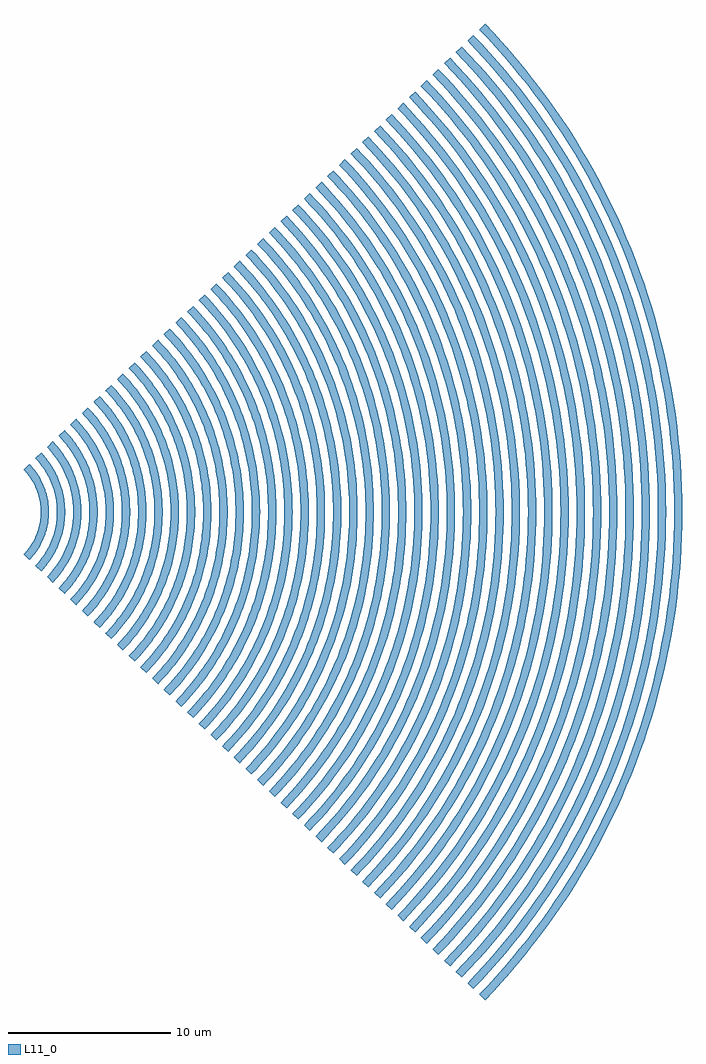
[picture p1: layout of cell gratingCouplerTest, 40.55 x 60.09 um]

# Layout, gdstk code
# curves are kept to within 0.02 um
import gdstk
lib = gdstk.Library(unit=1e-6, precision=1e-09)
def P(c, l, *ps):  # polygons
    for p in ps: c.add(gdstk.Polygon(p, *l))
L11_0 = (11, 0)

gratingcouplertest = lib.new_cell('gratingCouplerTest')
P(gratingcouplertest, L11_0, [(3.057,-2.952),(2.698,-2.605),(3.145,-2.042),(3.477,-1.405),(3.681,-0.716),(3.75,0),(3.681,0.716),(3.477,1.405),(3.145,2.042),(2.698,2.605),(3.057,2.952),(3.564,2.315),(3.941,1.592),(4.172,0.811),(4.25,0),(4.172,-0.811),(3.941,-1.592),(3.564,-2.315)],
  [(3.777,-3.647),(3.417,-3.3),(3.743,-2.924),(3.984,-2.587),(4.194,-2.23),(4.404,-1.779),(4.566,-1.309),(4.663,-0.906),(4.732,-0.414),(4.75,0),(4.732,0.414),(4.663,0.906),(4.566,1.309),(4.404,1.779),(4.194,2.23),(3.984,2.587),(3.743,2.924),(3.417,3.3),(3.777,3.647),(4.08,3.304),(4.403,2.859),(4.678,2.383),(4.868,1.967),(5.021,1.535),(5.154,1.002),(5.23,0.458),(5.25,0),(5.23,-0.458),(5.154,-1.002),(5.021,-1.535),(4.868,-1.967),(4.678,-2.383),(4.403,-2.859),(4.08,-3.304)],
  [(4.496,-4.342),(4.136,-3.994),(4.469,-3.619),(4.822,-3.132),(5.077,-2.699),(5.331,-2.154),(5.499,-1.681),(5.644,-1.097),(5.719,-0.601),(5.75,0),(5.719,0.601),(5.644,1.097),(5.499,1.681),(5.331,2.154),(5.077,2.699),(4.822,3.132),(4.469,3.619),(4.136,3.994),(4.496,4.342),(4.925,3.848),(5.242,3.404),(5.569,2.837),(5.795,2.341),(6.008,1.723),(6.135,1.193),(6.216,0.653),(6.25,0),(6.216,-0.653),(6.135,-1.193),(6.008,-1.723),(5.795,-2.341),(5.569,-2.837),(5.242,-3.404),(4.925,-3.848)],
  [(5.215,-5.036),(4.856,-4.689),(5.246,-4.248),(5.661,-3.676),(5.96,-3.169),(6.258,-2.529),(6.489,-1.861),(6.626,-1.288),(6.713,-0.706),(6.75,0),(6.713,0.706),(6.626,1.288),(6.489,1.861),(6.258,2.529),(5.96,3.169),(5.661,3.676),(5.246,4.248),(4.856,4.689),(5.215,5.036),(5.713,4.464),(6.08,3.949),(6.46,3.291),(6.722,2.716),(6.933,2.12),(7.117,1.383),(7.21,0.758),(7.25,0),(7.21,-0.758),(7.117,-1.383),(6.933,-2.12),(6.722,-2.716),(6.46,-3.291),(6.08,-3.949),(5.713,-4.464)],
  [(5.935,-5.731),(5.575,-5.384),(6.023,-4.877),(6.5,-4.221),(6.843,-3.638),(7.186,-2.903),(7.45,-2.136),(7.608,-1.479),(7.721,-0.675),(7.75,0),(7.721,0.675),(7.608,1.479),(7.45,2.136),(7.186,2.903),(6.843,3.638),(6.5,4.221),(6.023,4.877),(5.575,5.384),(5.935,5.731),(6.501,5.079),(6.919,4.493),(7.351,3.745),(7.649,3.091),(7.89,2.412),(8.098,1.574),(8.219,0.719),(8.25,0),(8.219,-0.719),(8.098,-1.574),(7.89,-2.412),(7.649,-3.091),(7.351,-3.745),(6.919,-4.493),(6.501,-5.079)],
  [(6.654,-6.426),(6.294,-6.078),(6.8,-5.507),(7.338,-4.766),(7.726,-4.108),(8.113,-3.278),(8.368,-2.558),(8.589,-1.67),(8.717,-0.763),(8.75,0),(8.717,0.763),(8.589,1.67),(8.368,2.558),(8.113,3.278),(7.726,4.108),(7.338,4.766),(6.8,5.507),(6.294,6.078),(6.654,6.426),(7.189,5.821),(7.758,5.038),(8.242,4.199),(8.576,3.465),(8.892,2.55),(9.08,1.765),(9.215,0.806),(9.25,0),(9.215,-0.806),(9.08,-1.765),(8.892,-2.55),(8.576,-3.465),(8.242,-4.199),(7.758,-5.038),(7.189,-5.821)],
  [(7.373,-7.12),(7.014,-6.773),(7.787,-5.868),(8.357,-5.022),(8.837,-4.121),(9.273,-3.013),(9.5,-2.193),(9.63,-1.525),(9.713,-0.85),(9.75,0),(9.713,0.85),(9.63,1.525),(9.5,2.193),(9.273,3.013),(8.837,4.121),(8.357,5.022),(7.787,5.868),(7.014,6.773),(7.373,7.12),(7.966,6.451),(8.596,5.583),(9.133,4.653),(9.504,3.84),(9.853,2.825),(10.062,1.956),(10.194,1.071),(10.25,0),(10.194,-1.071),(10.062,-1.956),(9.853,-2.825),(9.504,-3.84),(9.133,-4.653),(8.596,-5.583),(7.966,-6.451)],
  [(8.093,-7.815),(7.733,-7.468),(8.471,-6.618),(9.117,-5.697),(9.743,-4.543),(10.164,-3.5),(10.431,-2.601),(10.618,-1.682),(10.724,-0.75),(10.75,0),(10.724,0.75),(10.618,1.682),(10.431,2.601),(10.164,3.5),(9.743,4.543),(9.117,5.697),(8.471,6.618),(7.733,7.468),(8.093,7.815),(8.743,7.08),(9.435,6.127),(9.933,5.282),(10.431,4.214),(10.814,3.101),(11.043,2.147),(11.207,0.981),(11.25,0),(11.207,-0.981),(11.043,-2.147),(10.814,-3.101),(10.431,-4.214),(9.933,-5.282),(9.435,-6.127),(8.743,-7.08)],
  [(8.812,-8.51),(8.452,-8.162),(9.259,-7.234),(9.965,-6.227),(10.561,-5.151),(10.816,-4.591),(11.11,-3.825),(11.401,-2.843),(11.605,-1.838),(11.705,-1.024),(11.75,0),(11.705,1.024),(11.605,1.838),(11.401,2.843),(11.11,3.825),(10.816,4.591),(10.561,5.151),(9.965,6.227),(9.259,7.234),(8.452,8.162),(8.812,8.51),(9.653,7.542),(10.274,6.672),(10.915,5.561),(11.358,4.589),(11.715,3.582),(12.025,2.337),(12.183,1.28),(12.25,0),(12.183,-1.28),(12.025,-2.337),(11.715,-3.582),(11.358,-4.589),(10.915,-5.561),(10.274,-6.672),(9.653,-7.542)],
  [(9.531,-9.204),(9.172,-8.857),(9.623,-8.365),(10.183,-7.673),(10.929,-6.567),(11.555,-5.388),(12.055,-4.151),(12.371,-3.085),(12.593,-1.995),(12.719,-0.889),(12.75,0),(12.719,0.889),(12.593,1.995),(12.371,3.085),(12.055,4.151),(11.555,5.388),(10.929,6.567),(10.183,7.673),(9.623,8.365),(9.172,8.857),(9.531,9.204),(10.441,8.158),(11.112,7.216),(11.806,6.015),(12.285,4.964),(12.737,3.652),(13.007,2.528),(13.2,1.155),(13.25,0),(13.2,-1.155),(13.007,-2.528),(12.737,-3.652),(12.285,-4.964),(11.806,-6.015),(11.112,-7.216),(10.441,-8.158)],
  [(10.251,-9.899),(9.891,-9.552),(10.835,-8.465),(11.661,-7.286),(12.141,-6.455),(12.462,-5.811),(13.001,-4.477),(13.342,-3.326),(13.581,-2.151),(13.717,-0.959),(13.75,0),(13.717,0.959),(13.581,2.151),(13.342,3.326),(13.001,4.477),(12.462,5.811),(12.141,6.455),(11.661,7.286),(10.835,8.465),(9.891,9.552),(10.251,9.899),(11.074,8.968),(11.951,7.761),(12.582,6.69),(13.212,5.338),(13.698,3.928),(13.988,2.719),(14.196,1.242),(14.25,0),(14.196,-1.242),(13.988,-2.719),(13.698,-3.928),(13.212,-5.338),(12.582,-6.69),(11.951,-7.761),(11.074,-8.968)],
  [(10.97,-10.594),(10.61,-10.246),(11.132,-9.677),(11.623,-9.081),(12.509,-7.816),(12.901,-7.151),(13.257,-6.466),(13.86,-5.045),(14.247,-3.818),(14.526,-2.561),(14.694,-1.286),(14.75,0),(14.694,1.286),(14.526,2.561),(14.247,3.818),(13.86,5.045),(13.257,6.466),(12.901,7.151),(12.509,7.816),(11.623,9.081),(11.132,9.677),(10.61,10.246),(10.97,10.594),(11.509,10.005),(12.017,9.389),(12.79,8.306),(13.207,7.625),(13.588,6.923),(14.14,5.713),(14.584,4.459),(14.797,3.689),(14.97,2.91),(15.102,2.122),(15.192,1.329),(15.25,0),(15.192,-1.329),(15.102,-2.122),(14.97,-2.91),(14.797,-3.689),(14.584,-4.459),(14.14,-5.713),(13.588,-6.923),(13.207,-7.625),(12.79,-8.306),(12.017,-9.389),(11.509,-10.005)],
  [(11.689,-11.288),(11.33,-10.941),(11.887,-10.333),(12.411,-9.697),(12.902,-9.034),(13.357,-8.346),(13.775,-7.636),(14.156,-6.904),(14.498,-6.154),(14.8,-5.387),(15.213,-4.076),(15.511,-2.735),(15.69,-1.373),(15.75,0),(15.69,1.373),(15.511,2.735),(15.213,4.076),(14.8,5.387),(14.498,6.154),(14.156,6.904),(13.775,7.636),(13.357,8.346),(12.902,9.034),(12.411,9.697),(11.887,10.333),(11.33,10.941),(11.689,11.288),(12.629,10.226),(13.147,9.552),(13.628,8.85),(14.348,7.629),(14.728,6.868),(15.067,6.087),(15.365,5.29),(15.621,4.479),(15.951,3.101),(16.161,1.699),(16.228,0.85),(16.25,0),(16.228,-0.85),(16.161,-1.699),(15.951,-3.101),(15.621,-4.479),(15.365,-5.29),(15.067,-6.087),(14.728,-6.868),(14.348,-7.629),(13.628,-8.85),(13.147,-9.552),(12.629,-10.226)],
  [(12.409,-11.983),(12.049,-11.636),(12.641,-10.989),(13.199,-10.312),(13.721,-9.607),(14.205,-8.876),(14.65,-8.121),(15.055,-7.343),(15.418,-6.545),(15.74,-5.729),(16.179,-4.335),(16.496,-2.909),(16.686,-1.46),(16.75,0),(16.686,1.46),(16.496,2.909),(16.179,4.335),(15.74,5.729),(15.418,6.545),(15.055,7.343),(14.65,8.121),(14.205,8.876),(13.721,9.607),(13.199,10.312),(12.641,10.989),(12.049,11.636),(12.409,11.983),(13.406,10.856),(13.956,10.139),(14.467,9.395),(15.231,8.098),(15.634,7.29),(15.994,6.462),(16.31,5.616),(16.582,4.755),(16.933,3.291),(17.156,1.803),(17.226,0.903),(17.25,0),(17.226,-0.903),(17.156,-1.803),(16.933,-3.291),(16.582,-4.755),(16.31,-5.616),(15.994,-6.462),(15.634,-7.29),(15.231,-8.098),(14.467,-9.395),(13.956,-10.139),(13.406,-10.856)],
  [(13.128,-12.678),(12.768,-12.33),(13.396,-11.645),(13.987,-10.928),(14.54,-10.181),(15.053,-9.406),(15.524,-8.605),(15.954,-7.781),(16.339,-6.935),(16.68,-6.071),(17.145,-4.594),(17.48,-3.082),(17.682,-1.547),(17.75,0),(17.682,1.547),(17.48,3.082),(17.145,4.594),(16.68,6.071),(16.339,6.935),(15.954,7.781),(15.524,8.605),(15.053,9.406),(14.54,10.181),(13.987,10.928),(13.396,11.645),(12.768,12.33),(13.128,12.678),(14.183,11.485),(14.765,10.727),(15.306,9.94),(16.114,8.568),(16.54,7.713),(16.921,6.837),(17.453,5.336),(17.708,4.415),(17.915,3.482),(18.072,2.54),(18.181,1.591),(18.25,0),(18.181,-1.591),(18.072,-2.54),(17.915,-3.482),(17.708,-4.415),(17.453,-5.336),(16.921,-6.837),(16.54,-7.713),(16.114,-8.568),(15.306,-9.94),(14.765,-10.727),(14.183,-11.485)],
  [(13.847,-13.372),(13.488,-13.025),(14.151,-12.301),(14.775,-11.544),(15.359,-10.755),(15.901,-9.936),(16.399,-9.09),(16.852,-8.219),(17.259,-7.326),(17.619,-6.413),(18.111,-4.853),(18.465,-3.256),(18.679,-1.634),(18.75,0),(18.679,1.634),(18.465,3.256),(18.111,4.853),(17.619,6.413),(17.259,7.326),(16.852,8.219),(16.399,9.09),(15.901,9.936),(15.359,10.755),(14.775,11.544),(14.151,12.301),(13.488,13.025),(13.847,13.372),(14.96,12.114),(15.574,11.315),(16.144,10.484),(16.997,9.037),(17.446,8.135),(17.848,7.211),(18.409,5.628),(18.678,4.657),(18.896,3.673),(19.145,2.012),(19.224,1.007),(19.25,0),(19.224,-1.007),(19.145,-2.012),(18.896,-3.673),(18.678,-4.657),(18.409,-5.628),(17.848,-7.211),(17.446,-8.135),(16.997,-9.037),(16.144,-10.484),(15.574,-11.315),(14.96,-12.114)],
  [(14.567,-14.067),(14.207,-13.72),(14.906,-12.957),(15.563,-12.159),(16.178,-11.328),(16.749,-10.466),(17.274,-9.575),(17.751,-8.658),(18.18,-7.717),(18.559,-6.755),(19.077,-5.112),(19.45,-3.43),(19.675,-1.721),(19.75,0),(19.675,1.721),(19.45,3.43),(19.077,5.112),(18.559,6.755),(18.18,7.717),(17.751,8.658),(17.274,9.575),(16.749,10.466),(16.178,11.328),(15.563,12.159),(14.906,12.957),(14.207,13.72),(14.567,14.067),(15.737,12.744),(16.383,11.903),(16.983,11.029),(17.88,9.507),(18.353,8.558),(18.775,7.586),(19.147,6.593),(19.466,5.582),(19.878,3.864),(20.053,2.818),(20.173,1.765),(20.25,0),(20.173,-1.765),(20.053,-2.818),(19.878,-3.864),(19.466,-5.582),(19.147,-6.593),(18.775,-7.586),(18.353,-8.558),(17.88,-9.507),(16.983,-11.029),(16.383,-11.903),(15.737,-12.744)],
  [(15.286,-14.761),(14.926,-14.414),(15.66,-13.613),(16.351,-12.775),(16.997,-11.902),(17.597,-10.996),(18.148,-10.06),(18.65,-9.096),(19.1,-8.108),(19.499,-7.097),(20.043,-5.37),(20.435,-3.603),(20.671,-1.808),(20.75,0),(20.671,1.808),(20.435,3.603),(20.043,5.37),(19.499,7.097),(19.1,8.108),(18.65,9.096),(18.148,10.06),(17.597,10.996),(16.997,11.902),(16.351,12.775),(15.66,13.613),(14.926,14.414),(15.286,14.761),(16.038,13.941),(16.745,13.083),(17.822,11.574),(18.763,9.976),(19.259,8.981),(19.703,7.96),(20.092,6.918),(20.427,5.857),(20.86,4.055),(21.134,2.221),(21.221,1.112),(21.25,0),(21.221,-1.112),(21.134,-2.221),(20.86,-4.055),(20.427,-5.857),(20.092,-6.918),(19.703,-7.96),(19.259,-8.981),(18.763,-9.976),(17.822,-11.574),(16.745,-13.083),(16.038,-13.941)],
  [(16.005,-15.456),(15.646,-15.109),(16.415,-14.269),(17.139,-13.391),(17.817,-12.475),(18.445,-11.526),(19.023,-10.545),(19.549,-9.535),(20.021,-8.498),(20.438,-7.439),(20.8,-6.359),(21.009,-5.629),(21.193,-4.893),(21.42,-3.777),(21.667,-1.896),(21.737,-0.759),(21.75,0),(21.737,0.759),(21.667,1.896),(21.42,3.777),(21.193,4.893),(21.009,5.629),(20.8,6.359),(20.438,7.439),(20.021,8.498),(19.549,9.535),(19.023,10.545),(18.445,11.526),(17.817,12.475),(17.139,13.391),(16.415,14.269),(15.646,15.109),(16.005,15.456),(16.792,14.597),(17.533,13.698),(18.001,13.078),(18.66,12.118),(19.072,11.46),(19.646,10.446),(20.165,9.403),(20.63,8.335),(21.038,7.244),(21.278,6.505),(21.589,5.383),(21.841,4.246),(21.976,3.481),(22.128,2.326),(22.22,1.164),(22.25,0),(22.22,-1.164),(22.128,-2.326),(21.976,-3.481),(21.841,-4.246),(21.589,-5.383),(21.278,-6.505),(21.038,-7.244),(20.63,-8.335),(20.165,-9.403),(19.646,-10.446),(19.072,-11.46),(18.66,-12.118),(18.001,-13.078),(17.533,-13.698),(16.792,-14.597)],
  [(16.725,-16.151),(16.365,-15.803),(17.17,-14.925),(17.927,-14.006),(18.636,-13.049),(19.293,-12.056),(19.898,-11.029),(20.448,-9.973),(20.941,-8.889),(21.378,-7.781),(21.637,-7.03),(21.975,-5.888),(22.253,-4.73),(22.404,-3.95),(22.529,-3.166),(22.663,-1.983),(22.719,-1.191),(22.75,0),(22.719,1.191),(22.663,1.983),(22.529,3.166),(22.404,3.95),(22.253,4.73),(21.975,5.888),(21.637,7.03),(21.378,7.781),(20.941,8.889),(20.448,9.973),(19.898,11.029),(19.293,12.056),(18.636,13.049),(17.927,14.006),(17.17,14.925),(16.365,15.803),(16.725,16.151),(17.547,15.253),(18.069,14.632),(18.81,13.666),(19.499,12.663),(19.929,11.975),(20.529,10.915),(21.072,9.826),(21.557,8.71),(21.848,7.952),(22.234,6.798),(22.559,5.625),(22.823,4.436),(23.024,3.236),(23.162,2.026),(23.236,0.811),(23.25,0),(23.236,-0.811),(23.162,-2.026),(23.024,-3.236),(22.823,-4.436),(22.559,-5.625),(22.234,-6.798),(21.848,-7.952),(21.557,-8.71),(21.072,-9.826),(20.529,-10.915),(19.929,-11.975),(19.499,-12.663),(18.81,-13.666),(18.069,-14.632),(17.547,-15.253)],
  [(17.444,-16.845),(17.084,-16.498),(17.924,-15.581),(18.715,-14.622),(19.455,-13.622),(20.141,-12.586),(20.772,-11.514),(21.346,-10.411),(21.697,-9.66),(22.173,-8.511),(22.588,-7.339),(22.83,-6.546),(23.045,-5.746),(23.314,-4.532),(23.519,-3.305),(23.66,-2.07),(23.736,-0.829),(23.75,0),(23.736,0.829),(23.66,2.07),(23.519,3.305),(23.314,4.532),(23.045,5.746),(22.83,6.546),(22.588,7.339),(22.173,8.511),(21.697,9.66),(21.346,10.411),(20.772,11.514),(20.141,12.586),(19.455,13.622),(18.715,14.622),(17.924,15.581),(17.084,16.498),(17.444,16.845),(18.302,15.909),(18.846,15.261),(19.619,14.254),(20.338,13.207),(21.001,12.125),(21.607,11.009),(21.978,10.248),(22.484,9.084),(22.929,7.895),(23.311,6.684),(23.53,5.867),(23.804,4.627),(24.014,3.375),(24.158,2.114),(24.217,1.269),(24.25,0),(24.217,-1.269),(24.158,-2.114),(24.014,-3.375),(23.804,-4.627),(23.53,-5.867),(23.311,-6.684),(22.929,-7.895),(22.484,-9.084),(21.978,-10.248),(21.607,-11.009),(21.001,-12.125),(20.338,-13.207),(19.619,-14.254),(18.846,-15.261),(18.302,-15.909)],
  [(18.163,-17.54),(17.804,-17.193),(18.679,-16.237),(19.503,-15.238),(20.274,-14.196),(20.989,-13.116),(21.647,-11.999),(22.245,-10.85),(22.61,-10.067),(23.106,-8.87),(23.539,-7.648),(23.907,-6.406),(24.116,-5.568),(24.374,-4.298),(24.566,-3.016),(24.656,-2.157),(24.735,-0.864),(24.75,0),(24.735,0.864),(24.656,2.157),(24.566,3.016),(24.374,4.298),(24.116,5.568),(23.907,6.406),(23.539,7.648),(23.106,8.87),(22.61,10.067),(22.245,10.85),(21.647,11.999),(20.989,13.116),(20.274,14.196),(19.503,15.238),(18.679,16.237),(17.804,17.193),(18.163,17.54),(18.764,16.896),(19.623,15.89),(20.428,14.842),(21.176,13.752),(21.867,12.625),(22.498,11.463),(23.067,10.27),(23.411,9.459),(23.727,8.636),(24.147,7.382),(24.5,6.109),(24.786,4.818),(24.939,3.95),(25.112,2.639),(25.215,1.321),(25.25,0),(25.215,-1.321),(25.112,-2.639),(24.939,-3.95),(24.786,-4.818),(24.5,-6.109),(24.147,-7.382),(23.727,-8.636),(23.411,-9.459),(23.067,-10.27),(22.498,-11.463),(21.867,-12.625),(21.176,-13.752),(20.428,-14.842),(19.623,-15.89),(18.764,-16.896)],
  [(18.883,-18.235),(18.523,-17.887),(19.434,-16.894),(20.012,-16.205),(20.832,-15.135),(21.596,-14.024),(22.3,-12.875),(22.943,-11.69),(23.524,-10.473),(24.04,-9.228),(24.49,-7.957),(24.873,-6.665),(25.09,-5.792),(25.359,-4.471),(25.558,-3.138),(25.652,-2.244),(25.715,-1.348),(25.75,0),(25.715,1.348),(25.652,2.244),(25.558,3.138),(25.359,4.471),(25.09,5.792),(24.873,6.665),(24.49,7.957),(24.04,9.228),(23.524,10.473),(22.943,11.69),(22.3,12.875),(21.596,14.024),(20.832,15.135),(20.012,16.205),(19.434,16.894),(18.523,17.887),(18.883,18.235),(19.508,17.565),(20.4,16.52),(21.237,15.429),(22.015,14.297),(22.733,13.125),(23.389,11.917),(23.791,11.094),(24.339,9.833),(24.82,8.546),(25.103,7.675),(25.47,6.35),(25.768,5.009),(25.995,3.653),(26.15,2.288),(26.214,1.374),(26.25,0),(26.214,-1.374),(26.15,-2.288),(25.995,-3.653),(25.768,-5.009),(25.47,-6.35),(25.103,-7.675),(24.82,-8.546),(24.339,-9.833),(23.791,-11.094),(23.389,-11.917),(22.733,-13.125),(22.015,-14.297),(21.237,-15.429),(20.4,-16.52),(19.508,-17.565)],
  [(19.602,-18.929),(19.242,-18.582),(20.188,-17.55),(20.789,-16.834),(21.641,-15.723),(22.434,-14.569),(23.166,-13.375),(23.834,-12.144),(24.437,-10.88),(24.973,-9.586),(25.293,-8.709),(25.714,-7.373),(25.955,-6.471),(26.259,-5.104),(26.49,-3.723),(26.648,-2.331),(26.734,-0.934),(26.75,0),(26.734,0.934),(26.648,2.331),(26.49,3.723),(26.259,5.104),(25.955,6.471),(25.714,7.373),(25.293,8.709),(24.973,9.586),(24.437,10.88),(23.834,12.144),(23.166,13.375),(22.434,14.569),(21.641,15.723),(20.789,16.834),(20.188,17.55),(19.242,18.582),(19.602,18.929),(20.566,17.878),(21.473,16.777),(22.046,16.017),(22.854,14.841),(23.599,13.625),(24.28,12.371),(24.894,11.084),(25.266,10.208),(25.607,9.32),(26.059,7.967),(26.441,6.592),(26.749,5.2),(26.915,4.263),(27.101,2.848),(27.213,1.426),(27.25,0),(27.213,-1.426),(27.101,-2.848),(26.915,-4.263),(26.749,-5.2),(26.441,-6.592),(26.059,-7.967),(25.607,-9.32),(25.266,-10.208),(24.894,-11.084),(24.28,-12.371),(23.599,-13.625),(22.854,-14.841),(22.046,-16.017),(21.473,-16.777),(20.566,-17.878)],
  [(20.321,-19.624),(19.962,-19.277),(20.943,-18.206),(21.566,-17.464),(22.45,-16.311),(23.273,-15.114),(24.032,-13.875),(24.725,-12.598),(25.351,-11.287),(25.907,-9.945),(26.392,-8.575),(26.675,-7.649),(26.926,-6.713),(27.24,-5.295),(27.48,-3.862),(27.598,-2.901),(27.712,-1.452),(27.75,0),(27.712,1.452),(27.598,2.901),(27.48,3.862),(27.24,5.295),(26.926,6.713),(26.675,7.649),(26.392,8.575),(25.907,9.945),(25.351,11.287),(24.725,12.598),(24.032,13.875),(23.273,15.114),(22.45,16.311),(21.566,17.464),(20.943,18.206),(19.962,19.277),(20.321,19.624),(21.321,18.534),(21.954,17.778),(22.855,16.605),(23.692,15.386),(24.215,14.55),(24.943,13.263),(25.603,11.939),(26.193,10.583),(26.711,9.197),(27.016,8.26),(27.411,6.834),(27.731,5.39),(27.975,3.932),(28.095,2.953),(28.211,1.478),(28.25,0),(28.211,-1.478),(28.095,-2.953),(27.975,-3.932),(27.731,-5.39),(27.411,-6.834),(27.016,-8.26),(26.711,-9.197),(26.193,-10.583),(25.603,-11.939),(24.943,-13.263),(24.215,-14.55),(23.692,-15.386),(22.855,-16.605),(21.954,-17.778),(21.321,-18.534)],
  [(21.041,-20.319),(20.681,-19.971),(21.698,-18.862),(22.343,-18.093),(23.259,-16.899),(24.112,-15.658),(24.898,-14.375),(25.616,-13.052),(26.264,-11.694),(26.84,-10.303),(27.184,-9.36),(27.636,-7.925),(27.896,-6.955),(28.222,-5.486),(28.396,-4.497),(28.593,-3.005),(28.711,-1.505),(28.75,0),(28.711,1.505),(28.593,3.005),(28.396,4.497),(28.222,5.486),(27.896,6.955),(27.636,7.925),(27.184,9.36),(26.84,10.303),(26.264,11.694),(25.616,13.052),(24.898,14.375),(24.112,15.658),(23.259,16.899),(22.343,18.093),(21.698,18.862),(20.681,19.971),(21.041,20.319),(21.737,19.572),(22.732,18.408),(23.664,17.193),(24.531,15.931),(25.331,14.625),(26.062,13.279),(26.51,12.362),(27.12,10.957),(27.486,10.004),(27.972,8.552),(28.381,7.076),(28.713,5.581),(28.965,4.071),(29.139,2.549),(29.21,1.531),(29.25,0),(29.21,-1.531),(29.139,-2.549),(28.965,-4.071),(28.713,-5.581),(28.381,-7.076),(27.972,-8.552),(27.486,-10.004),(27.12,-10.957),(26.51,-12.362),(26.062,-13.279),(25.331,-14.625),(24.531,-15.931),(23.664,-17.193),(22.732,-18.408),(21.737,-19.572)],
  [(21.76,-21.013),(21.4,-20.666),(22.453,-19.518),(23.443,-18.316),(24.37,-17.064),(24.95,-16.203),(25.764,-14.875),(26.507,-13.506),(27.178,-12.1),(27.774,-10.661),(28.129,-9.686),(28.598,-8.2),(28.988,-6.692),(29.298,-5.166),(29.528,-3.626),(29.637,-2.593),(29.732,-1.038),(29.75,0),(29.732,1.038),(29.637,2.593),(29.528,3.626),(29.298,5.166),(28.988,6.692),(28.598,8.2),(28.129,9.686),(27.774,10.661),(27.178,12.1),(26.507,13.506),(25.764,14.875),(24.95,16.203),(24.37,17.064),(23.443,18.316),(22.453,19.518),(21.4,20.666),(21.76,21.013),(22.83,19.846),(23.509,19.037),(24.473,17.781),(25.37,16.475),(25.929,15.58),(26.709,14.202),(27.416,12.784),(28.047,11.332),(28.602,9.848),(29.078,8.338),(29.475,6.805),(29.694,5.772),(29.956,4.21),(30.135,2.636),(30.232,1.056),(30.25,0),(30.232,-1.056),(30.135,-2.636),(29.956,-4.21),(29.694,-5.772),(29.475,-6.805),(29.078,-8.338),(28.602,-9.848),(28.047,-11.332),(27.416,-12.784),(26.709,-14.202),(25.929,-15.58),(25.37,-16.475),(24.473,-17.781),(23.509,-19.037),(22.83,-19.846)],
  [(22.479,-21.708),(22.12,-21.361),(22.852,-20.576),(23.897,-19.352),(24.877,-18.074),(25.789,-16.748),(26.63,-15.375),(27.398,-13.96),(28.092,-12.507),(28.708,-11.02),(29.075,-10.011),(29.559,-8.476),(29.962,-6.917),(30.283,-5.34),(30.451,-4.28),(30.633,-2.68),(30.708,-1.609),(30.75,0),(30.708,1.609),(30.633,2.68),(30.451,4.28),(30.283,5.34),(29.962,6.917),(29.559,8.476),(29.075,10.011),(28.708,11.02),(28.092,12.507),(27.398,13.96),(26.63,15.375),(25.789,16.748),(24.877,18.074),(23.897,19.352),(22.852,20.576),(22.12,21.361),(22.479,21.708),(23.585,20.502),(24.286,19.666),(25.282,18.368),(26.208,17.02),(27.063,15.625),(27.844,14.187),(28.548,12.711),(28.974,11.706),(29.365,10.688),(29.885,9.137),(30.322,7.56),(30.676,5.963),(30.946,4.349),(31.079,3.267),(31.207,1.635),(31.25,0),(31.207,-1.635),(31.079,-3.267),(30.946,-4.349),(30.676,-5.963),(30.322,-7.56),(29.885,-9.137),(29.365,-10.688),(28.974,-11.706),(28.548,-12.711),(27.844,-14.187),(27.063,-15.625),(26.208,-17.02),(25.282,-18.368),(24.286,-19.666),(23.585,-20.502)],
  [(23.199,-22.403),(22.839,-22.055),(23.962,-20.83),(25.019,-19.547),(26.008,-18.211),(26.926,-16.825),(27.769,-15.393),(28.537,-13.918),(29.226,-12.406),(29.641,-11.378),(30.02,-10.337),(30.52,-8.751),(30.807,-7.681),(31.167,-6.058),(31.441,-4.419),(31.576,-3.319),(31.706,-1.662),(31.75,0),(31.706,1.662),(31.576,3.319),(31.441,4.419),(31.167,6.058),(30.807,7.681),(30.52,8.751),(30.02,10.337),(29.641,11.378),(29.226,12.406),(28.537,13.918),(27.769,15.393),(26.926,16.825),(26.008,18.211),(25.019,19.547),(23.962,20.83),(22.839,22.055),(23.199,22.403),(24.339,21.158),(25.063,20.296),(26.091,18.956),(27.047,17.565),(27.929,16.125),(28.735,14.641),(29.462,13.117),(29.902,12.081),(30.493,10.5),(31.001,8.889),(31.292,7.802),(31.657,6.154),(31.936,4.488),(32.127,2.811),(32.206,1.688),(32.25,0),(32.206,-1.688),(32.127,-2.811),(31.936,-4.488),(31.657,-6.154),(31.292,-7.802),(31.001,-8.889),(30.493,-10.5),(29.902,-12.081),(29.462,-13.117),(28.735,-14.641),(27.929,-16.125),(27.047,-17.565),(26.091,-18.956),(25.063,-20.296),(24.339,-21.158)],
  [(23.918,-23.097),(23.558,-22.75),(24.717,-21.486),(25.807,-20.163),(26.827,-18.785),(27.774,-17.355),(28.644,-15.878),(29.436,-14.357),(29.919,-13.321),(30.575,-11.737),(30.966,-10.662),(31.481,-9.027),(31.911,-7.367),(32.148,-6.249),(32.347,-5.123),(32.571,-3.423),(32.705,-1.714),(32.75,0),(32.705,1.714),(32.571,3.423),(32.347,5.123),(32.148,6.249),(31.911,7.367),(31.481,9.027),(30.966,10.662),(30.575,11.737),(29.919,13.321),(29.436,14.357),(28.644,15.878),(27.774,17.355),(26.827,18.785),(25.807,20.163),(24.717,21.486),(23.558,22.75),(23.918,23.097),(24.71,22.249),(25.84,20.925),(26.9,19.544),(27.886,18.109),(28.501,17.125),(29.358,15.61),(30.135,14.052),(30.829,12.456),(31.438,10.825),(31.962,9.165),(32.398,7.48),(32.639,6.344),(32.841,5.201),(33.068,3.476),(33.204,1.74),(33.25,0),(33.204,-1.74),(33.068,-3.476),(32.841,-5.201),(32.639,-6.344),(32.398,-7.48),(31.962,-9.165),(31.438,-10.825),(30.829,-12.456),(30.135,-14.052),(29.358,-15.61),(28.501,-17.125),(27.886,-18.109),(26.9,-19.544),(25.84,-20.925),(24.71,-22.249)],
  [(24.637,-23.792),(24.278,-23.445),(25.471,-22.142),(26.595,-20.779),(27.646,-19.358),(28.622,-17.885),(29.518,-16.362),(30.334,-14.795),(31.067,-13.187),(31.508,-12.095),(31.911,-10.988),(32.443,-9.303),(32.885,-7.592),(33.13,-6.44),(33.422,-4.697),(33.622,-2.942),(33.704,-1.766),(33.75,0),(33.704,1.766),(33.622,2.942),(33.422,4.697),(33.13,6.44),(32.885,7.592),(32.443,9.303),(31.911,10.988),(31.508,12.095),(31.067,13.187),(30.334,14.795),(29.518,16.362),(28.622,17.885),(27.646,19.358),(26.595,20.779),(25.471,22.142),(24.278,23.445),(24.637,23.792),(25.453,22.918),(26.617,21.554),(27.709,20.132),(28.724,18.654),(29.661,17.125),(30.517,15.549),(31.289,13.931),(31.756,12.83),(32.384,11.151),(32.923,9.441),(33.233,8.286),(33.621,6.535),(33.917,4.767),(34.12,2.985),(34.203,1.793),(34.25,0),(34.203,-1.793),(34.12,-2.985),(33.917,-4.767),(33.621,-6.535),(33.233,-8.286),(32.923,-9.441),(32.384,-11.151),(31.756,-12.83),(31.289,-13.931),(30.517,-15.549),(29.661,-17.125),(28.724,-18.654),(27.709,-20.132),(26.617,-21.554),(25.453,-22.918)],
  [(25.357,-24.487),(24.997,-24.139),(26.226,-22.798),(27.383,-21.394),(28.466,-19.932),(29.47,-18.415),(30.393,-16.847),(31.233,-15.233),(31.988,-13.578),(32.442,-12.453),(32.857,-11.313),(33.404,-9.578),(33.718,-8.407),(34.112,-6.631),(34.412,-4.836),(34.56,-3.632),(34.702,-1.819),(34.75,0),(34.702,1.819),(34.56,3.632),(34.412,4.836),(34.112,6.631),(33.718,8.407),(33.404,9.578),(32.857,11.313),(32.442,12.453),(31.988,13.578),(31.233,15.233),(30.393,16.847),(29.47,18.415),(28.466,19.932),(27.383,21.394),(26.226,22.798),(24.997,24.139),(25.357,24.487),(26.604,23.126),(27.394,22.184),(28.518,20.719),(29.563,19.199),(30.215,18.155),(31.124,16.549),(31.947,14.897),(32.683,13.205),(33.33,11.476),(33.71,10.306),(34.203,8.528),(34.602,6.726),(34.907,4.906),(35.057,3.685),(35.202,1.845),(35.25,0),(35.202,-1.845),(35.057,-3.685),(34.907,-4.906),(34.602,-6.726),(34.203,-8.528),(33.71,-10.306),(33.33,-11.476),(32.683,-13.205),(31.947,-14.897),(31.124,-16.549),(30.215,-18.155),(29.563,-19.199),(28.518,-20.719),(27.394,-22.184),(26.604,-23.126)],
  [(26.076,-25.181),(25.716,-24.834),(26.567,-23.921),(27.386,-22.98),(28.551,-21.515),(29.638,-19.991),(30.644,-18.413),(31.268,-17.332),(32.132,-15.672),(32.908,-13.969),(33.375,-12.812),(34,-11.047),(34.532,-9.253),(34.834,-8.042),(35.207,-6.208),(35.484,-4.357),(35.614,-3.116),(35.701,-1.871),(35.75,0),(35.701,1.871),(35.614,3.116),(35.484,4.357),(35.207,6.208),(34.969,7.433),(34.532,9.253),(34,11.047),(33.375,12.812),(32.908,13.969),(32.132,15.672),(31.268,17.332),(30.644,18.413),(29.638,19.991),(28.551,21.515),(27.386,22.98),(26.567,23.921),(25.716,24.834),(26.076,25.181),(26.939,24.256),(28.172,22.813),(29.327,21.307),(30.402,19.743),(31.393,18.125),(32.299,16.457),(32.854,15.32),(33.61,13.579),(34.275,11.802),(34.846,9.992),(35.321,8.154),(35.584,6.917),(35.897,5.045),(36.112,3.159),(36.228,1.265),(36.25,0),(36.228,-1.265),(36.112,-3.159),(35.897,-5.045),(35.584,-6.917),(35.321,-8.154),(34.846,-9.992),(34.275,-11.802),(33.61,-13.579),(32.854,-15.32),(32.299,-16.457),(31.393,-18.125),(30.402,-19.743),(29.327,-21.307),(28.172,-22.813),(26.939,-24.256)],
  [(26.795,-25.876),(26.436,-25.529),(27.736,-24.11),(28.56,-23.128),(29.35,-22.117),(30.467,-20.55),(31.501,-18.928),(32.142,-17.817),(33.031,-16.11),(33.573,-14.948),(34.309,-13.17),(34.951,-11.356),(35.498,-9.512),(35.947,-7.641),(36.192,-6.382),(36.476,-4.479),(36.61,-3.203),(36.728,-1.283),(36.75,0),(36.728,1.283),(36.61,3.203),(36.476,4.479),(36.192,6.382),(35.947,7.641),(35.498,9.512),(34.951,11.356),(34.309,13.17),(33.573,14.948),(33.031,16.11),(32.142,17.817),(31.501,18.928),(30.467,20.55),(29.35,22.117),(28.56,23.128),(27.736,24.11),(26.436,25.529),(26.795,25.876),(28.113,24.438),(28.949,23.442),(30.136,21.895),(31.24,20.288),(31.929,19.185),(32.89,17.488),(33.76,15.743),(34.538,13.954),(35.221,12.127),(35.807,10.267),(36.144,9.012),(36.566,7.108),(36.791,5.827),(37.046,3.894),(37.199,1.95),(37.25,0),(37.199,-1.95),(37.046,-3.894),(36.791,-5.827),(36.566,-7.108),(36.144,-9.012),(35.807,-10.267),(35.221,-12.127),(34.538,-13.954),(33.76,-15.743),(32.89,-17.488),(32.259,-18.625),(31.24,-20.288),(30.136,-21.895),(28.949,-23.442),(28.113,-24.438)],
  [(27.515,-26.571),(27.155,-26.223),(28.054,-25.26),(28.918,-24.265),(30.148,-22.719),(31.296,-21.11),(32.358,-19.443),(33.017,-18.302),(33.929,-16.549),(34.749,-14.75),(35.243,-13.528),(35.693,-12.29),(36.288,-10.405),(36.629,-9.133),(37.056,-7.203),(37.383,-5.254),(37.543,-3.946),(37.698,-1.976),(37.75,0),(37.698,1.976),(37.543,3.946),(37.383,5.254),(37.056,7.203),(36.629,9.133),(36.288,10.405),(35.693,12.29),(35.243,13.528),(34.749,14.75),(33.929,16.549),(33.017,18.302),(32.358,19.443),(31.296,21.11),(30.148,22.719),(28.918,24.265),(28.054,25.26),(27.155,26.223),(27.515,26.571),(28.868,25.094),(29.726,24.072),(30.945,22.483),(32.079,20.832),(32.787,19.7),(33.773,17.957),(34.666,16.165),(35.465,14.329),(36.166,12.453),(36.579,11.183),(37.114,9.254),(37.547,7.298),(37.878,5.323),(38.104,3.334),(38.198,2.002),(38.25,0),(38.198,-2.002),(38.104,-3.334),(37.878,-5.323),(37.547,-7.298),(37.114,-9.254),(36.579,-11.183),(36.166,-12.453),(35.465,-14.329),(34.666,-16.165),(33.773,-17.957),(32.787,-19.7),(32.079,-20.832),(30.945,-22.483),(29.726,-24.072),(28.868,-25.094)],
  [(28.234,-27.265),(27.874,-26.918),(29.245,-25.422),(30.535,-23.857),(31.349,-22.777),(32.125,-21.669),(33.215,-19.958),(33.892,-18.786),(34.828,-16.987),(35.67,-15.141),(36.176,-13.887),(36.639,-12.616),(37.249,-10.681),(37.757,-8.717),(38.038,-7.394),(38.373,-5.393),(38.603,-3.377),(38.697,-2.028),(38.75,0),(38.697,2.028),(38.603,3.377),(38.373,5.393),(38.038,7.394),(37.757,8.717),(37.249,10.681),(36.639,12.616),(36.176,13.887),(35.67,15.141),(34.828,16.987),(33.892,18.786),(33.215,19.958),(32.125,21.669),(31.349,22.777),(30.535,23.857),(29.245,25.422),(27.874,26.918),(28.234,27.265),(29.622,25.75),(30.503,24.701),(31.754,23.071),(32.918,21.377),(33.644,20.215),(34.656,18.427),(35.573,16.588),(36.392,14.703),(37.112,12.779),(37.73,10.819),(38.244,8.829),(38.529,7.489),(38.868,5.463),(39.101,3.421),(39.226,1.37),(39.25,0),(39.226,-1.37),(39.101,-3.421),(38.868,-5.463),(38.529,-7.489),(38.244,-8.829),(37.73,-10.819),(37.112,-12.779),(36.392,-14.703),(35.573,-16.588),(34.656,-18.427),(33.644,-20.215),(32.918,-21.377),(31.754,-23.071),(30.503,-24.701),(29.622,-25.75)],
  [(28.953,-27.96),(28.594,-27.613),(30,-26.078),(30.892,-25.015),(31.746,-23.922),(32.954,-22.228),(34.072,-20.473),(34.766,-19.271),(35.727,-17.425),(36.59,-15.532),(37.11,-14.245),(37.584,-12.941),(38.21,-10.957),(38.731,-8.942),(39.02,-7.585),(39.363,-5.532),(39.599,-3.464),(39.696,-2.08),(39.75,0),(39.696,2.08),(39.599,3.464),(39.363,5.532),(39.02,7.585),(38.731,8.942),(38.21,10.957),(37.584,12.941),(37.11,14.245),(36.59,15.532),(35.727,17.425),(34.766,19.271),(34.072,20.473),(32.954,22.228),(31.746,23.922),(30.892,25.015),(30,26.078),(28.594,27.613),(28.953,27.96),(29.912,26.933),(31.28,25.33),(32.563,23.658),(33.756,21.922),(34.858,20.125),(35.539,18.896),(36.479,17.01),(37.319,15.078),(38.057,13.104),(38.691,11.094),(39.218,9.054),(39.51,7.68),(39.858,5.602),(40.03,4.207),(40.195,2.107),(40.25,0),(40.195,-2.107),(40.03,-4.207),(39.858,-5.602),(39.51,-7.68),(39.218,-9.054),(38.691,-11.094),(38.057,-13.104),(37.319,-15.078),(36.479,-17.01),(35.539,-18.896),(34.858,-20.125),(33.756,-21.922),(32.563,-23.658),(31.28,-25.33),(29.912,-26.933)],
  [(29.673,-28.655),(29.313,-28.307),(30.283,-27.267),(31.216,-26.194),(32.544,-24.524),(33.783,-22.787),(34.93,-20.988),(35.641,-19.756),(36.626,-17.864),(37.511,-15.922),(38.043,-14.603),(38.756,-12.592),(39.171,-11.232),(39.706,-9.167),(40.131,-7.076),(40.446,-4.966),(40.595,-3.552),(40.694,-2.133),(40.75,0),(40.694,2.133),(40.595,3.552),(40.446,4.966),(40.131,7.076),(39.706,9.167),(39.171,11.232),(38.756,12.592),(38.043,14.603),(37.511,15.922),(36.626,17.864),(35.641,19.756),(34.93,20.988),(33.783,22.787),(32.544,24.524),(31.216,26.194),(30.283,27.267),(29.313,28.307),(29.673,28.655),(31.132,27.062),(32.505,25.396),(33.372,24.246),(34.595,22.466),(35.724,20.625),(36.422,19.366),(37.385,17.433),(38.246,15.453),(39.003,13.43),(39.448,12.06),(40.025,9.979),(40.492,7.871),(40.849,5.741),(41.024,4.312),(41.193,2.159),(41.25,0),(41.193,-2.159),(41.024,-4.312),(40.849,-5.741),(40.492,-7.871),(40.025,-9.979),(39.448,-12.06),(39.003,-13.43),(38.246,-15.453),(37.385,-17.433),(36.422,-19.366),(35.724,-20.625),(34.595,-22.466),(33.79,-23.66),(32.505,-25.396),(31.132,-27.062)],
  [(30.392,-29.349),(30.032,-29.002),(31.509,-27.39),(32.446,-26.274),(33.343,-25.126),(34.612,-23.346),(35.787,-21.503),(36.515,-20.241),(37.525,-18.302),(38.141,-16.981),(38.977,-14.962),(39.707,-12.901),(40.133,-11.508),(40.68,-9.392),(41.116,-7.25),(41.439,-5.088),(41.591,-3.639),(41.725,-1.457),(41.75,0),(41.725,1.457),(41.591,3.639),(41.439,5.088),(41.116,7.25),(40.68,9.392),(40.133,11.508),(39.707,12.901),(38.977,14.962),(38.141,16.981),(37.525,18.302),(36.515,20.241),(35.787,21.503),(34.612,23.346),(33.343,25.126),(32.446,26.274),(31.509,27.39),(30.032,29.002),(30.392,29.349),(31.398,28.271),(32.834,26.589),(34.181,24.834),(35.434,23.011),(36.59,21.125),(37.305,19.835),(38.292,17.856),(39.174,15.827),(39.702,14.45),(40.404,12.353),(40.995,10.221),(41.474,8.062),(41.839,5.88),(42.019,4.416),(42.192,2.211),(42.25,0),(42.192,-2.211),(42.019,-4.416),(41.839,-5.88),(41.474,-8.062),(40.995,-10.221),(40.404,-12.353),(39.702,-14.45),(39.174,-15.827),(38.292,-17.856),(37.305,-19.835),(36.59,-21.125),(35.434,-23.011),(34.181,-24.834),(32.834,-26.589),(31.398,-28.271)],
  [(31.111,-30.044),(30.752,-29.697),(32.264,-28.047),(33.223,-26.903),(34.142,-25.728),(35.441,-23.905),(36.644,-22.018),(37.39,-20.726),(38.423,-18.74),(39.352,-16.704),(39.911,-15.32),(40.658,-13.21),(41.094,-11.783),(41.48,-10.342),(41.965,-8.157),(42.224,-6.688),(42.516,-4.469),(42.691,-2.237),(42.75,0),(42.691,2.237),(42.516,4.469),(42.224,6.688),(41.965,8.157),(41.48,10.342),(41.094,11.783),(40.658,13.21),(39.911,15.32),(39.352,16.704),(38.423,18.74),(37.39,20.726),(36.644,22.018),(35.441,23.905),(34.142,25.728),(33.223,26.903),(32.264,28.047),(30.752,29.697),(31.111,30.044),(32.141,28.94),(33.612,27.218),(34.99,25.422),(36.273,23.556),(37.456,21.625),(38.536,19.635),(39.198,18.278),(40.101,16.202),(40.894,14.081),(41.575,11.921),(42.142,9.729),(42.455,8.252),(42.718,6.766),(43.013,4.521),(43.191,2.264),(43.25,0),(43.191,-2.264),(43.013,-4.521),(42.718,-6.766),(42.455,-8.252),(42.142,-9.729),(41.575,-11.921),(40.894,-14.081),(40.101,-16.202),(39.198,-18.278),(38.536,-19.635),(37.456,-21.625),(36.273,-23.556),(34.99,-25.422),(33.612,-27.218),(32.141,-28.94)])

lib.write_gds('gratingCouplerTest.gds')
